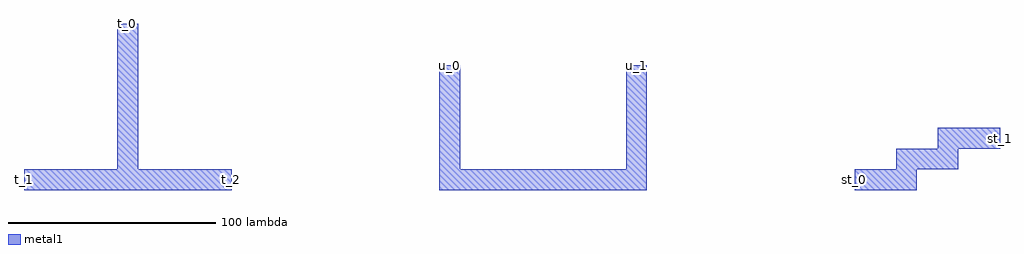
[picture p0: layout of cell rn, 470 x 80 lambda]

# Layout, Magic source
magic
tech exttest
<< metal1 >>
rect 0 0 100 10
rect 45 10 55 80
rect 200 0 300 10
rect 200 10 210 60
rect 290 10 300 60
rect 400 0 430 10
rect 420 10 450 20
rect 440 20 470 30
<< labels >>
rlabel metal1 45 80 55 80 0 t_0
port 1 nsew
rlabel metal1 0 0 0 10 0 t_1
port 2 nsew
rlabel metal1 100 0 100 10 0 t_2
port 3 nsew
rlabel metal1 200 60 210 60 0 u_0
port 4 nsew
rlabel metal1 290 60 300 60 0 u_1
port 5 nsew
rlabel metal1 400 0 400 10 0 st_0
port 6 nsew
rlabel metal1 470 20 470 30 0 st_1
port 7 nsew
<< end >>
